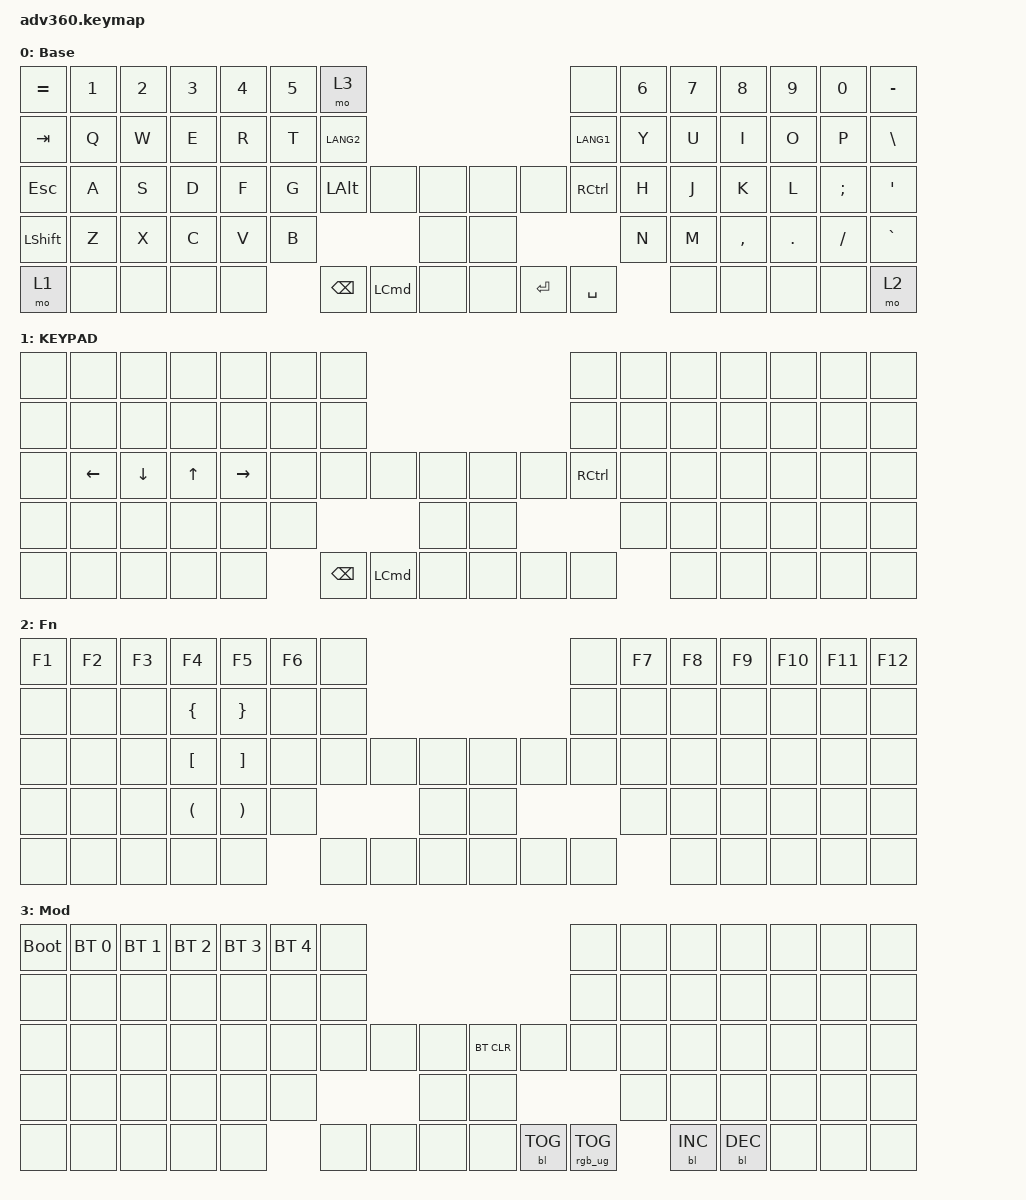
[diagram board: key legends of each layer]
#include <dt-bindings/zmk/stp.h>
#include <behaviors.dtsi>
#include <dt-bindings/zmk/backlight.h>
#include <dt-bindings/zmk/bt.h>
#include <dt-bindings/zmk/keys.h>
#include <dt-bindings/zmk/rgb.h>

/ {
    behaviors {
        #include "macros.dtsi"
      #include "version.dtsi"

        hm: homerow_mods {
            compatible = "zmk,behavior-hold-tap";
            label = "HOMEROW_MODS";
            #binding-cells = <2>;
            tapping-term-ms = <200>;
            quick_tap_ms = <175>;
            flavor = "tap-preferred";
            bindings = <&kp>, <&kp>;
        };
    };

    keymap {
        compatible = "zmk,keymap";

        default_layer {
            display-name = "Base";
            bindings = <
&kp EQUAL  &kp N1  &kp N2  &kp N3  &kp N4  &kp N5  &mo 3                                                        &none      &kp N6  &kp N7  &kp N8     &kp N9   &kp N0    &kp MINUS
&kp TAB    &kp Q   &kp W   &kp E   &kp R   &kp T   &kp LANG2                                                    &kp LANG1  &kp Y   &kp U   &kp I      &kp O    &kp P     &kp BSLH
&kp ESC    &kp A   &kp S   &kp D   &kp F   &kp G   &kp LEFT_ALT  &none             &none      &none  &none      &kp RCTRL  &kp H   &kp J   &kp K      &kp L    &kp SEMI  &kp SQT
&kp LSHFT  &kp Z   &kp X   &kp C   &kp V   &kp B                                   &none      &none                        &kp N   &kp M   &kp COMMA  &kp DOT  &kp FSLH  &kp GRAVE
&mo 1      &none   &none   &none   &none           &kp BSPC      &kp LEFT_COMMAND  &none      &none  &kp ENTER  &kp SPACE          &none   &none      &none    &none     &mo 2
            >;
        };

        KEYPAD {
            bindings = <
&none  &none     &none     &none   &none            &none  &none                                                     &none      &none  &none  &none  &none  &none  &none
&none  &none     &none     &none   &none            &none  &none                                                     &none      &none  &none  &none  &none  &none  &none
&none  &kp LEFT  &kp DOWN  &kp UP  &kp RIGHT_ARROW  &none  &none          &none             &none      &none  &none  &kp RCTRL  &none  &none  &none  &none  &none  &none
&none  &none     &none     &none   &none            &none                                   &none      &none                    &none  &none  &none  &none  &none  &none
&none  &none     &none     &none   &none                   &kp BACKSPACE  &kp LEFT_COMMAND  &none      &none  &none  &none             &none  &none  &none  &none  &none
            >;
        };

        fn {
            display-name = "Fn";
            bindings = <
&kp F1  &kp F2  &kp F3  &kp F4                &kp F5                 &kp F6  &none                                  &none  &kp F7  &kp F8  &kp F9  &kp F10  &kp F11  &kp F12
&none   &none   &none   &kp LEFT_BRACE        &kp RIGHT_BRACE        &none   &none                                  &none  &none   &none   &none   &none    &none    &none
&none   &none   &none   &kp LEFT_BRACKET      &kp RIGHT_BRACKET      &none   &none  &none  &none      &none  &none  &none  &none   &none   &none   &none    &none    &none
&none   &none   &none   &kp LEFT_PARENTHESIS  &kp RIGHT_PARENTHESIS  &none                 &none      &none                &none   &none   &none   &none    &none    &none
&none   &none   &none   &none                 &none                          &none  &none  &none      &none  &none  &none          &none   &none   &none    &none    &none
            >;
        };

        mod {
            display-name = "Mod";
            bindings = <
&bootloader  &bt BT_SEL 0  &bt BT_SEL 1  &bt BT_SEL 2  &bt BT_SEL 3  &bt BT_SEL 4  &none                                            &none            &none  &none       &none       &none  &none  &none
&none        &none         &none         &none         &none         &none         &none                                            &none            &none  &none       &none       &none  &none  &none
&none        &none         &none         &none         &none         &none         &none  &none  &none      &bt BT_CLR  &none       &none            &none  &none       &none       &none  &none  &none
&none        &none         &none         &none         &none         &none                       &none      &none                                    &none  &none       &none       &none  &none  &none
&none        &none         &none         &none         &none                       &none  &none  &none      &none       &bl BL_TOG  &rgb_ug RGB_TOG         &bl BL_INC  &bl BL_DEC  &none  &none  &none
            >;
        };
    };
};
